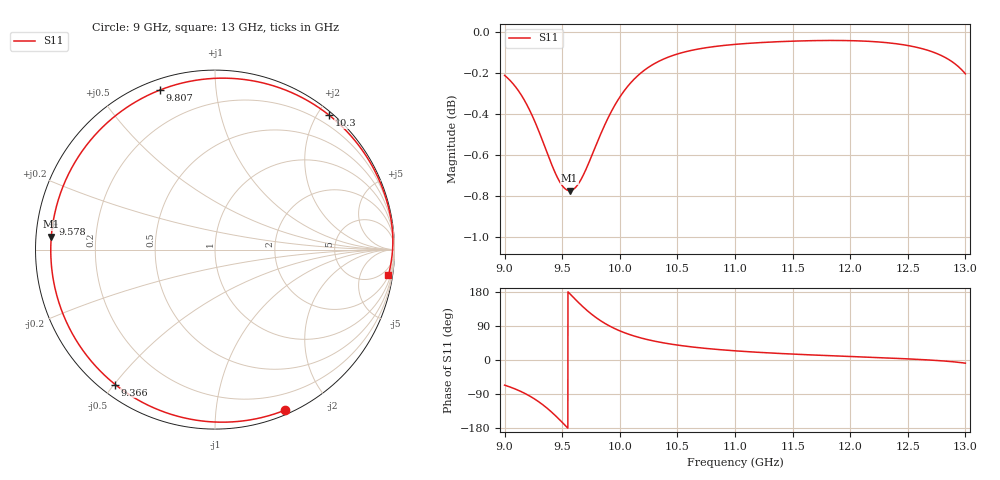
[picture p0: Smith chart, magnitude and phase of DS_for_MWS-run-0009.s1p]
! TOUCHSTONE file generated by CST DESIGN STUDIO
! Date and time: Tue Feb  4 15:57:27 2025
! Project name: C:\Work\MatlabApps\UnitCellOptimizationMatlab\CST\unitcell.cst
! Tree item: Tasks\Sweep1\SPara1\S-Parameters
! Header version: 2024
! Port assignment regex: !\s*Touchstone port\s*([0-9]+)\s*=\s*(CST MWS port|CST DES external port|CST DES block port)\s*(.+)\s* \(\"(.*)\"\)(\s*mode\s*([0-9]+))?.*
! Touchstone port assignment:
! Touchstone port 1 = CST DES external port 1 ("")
# GHz S MA R 50
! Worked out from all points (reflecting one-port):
!   4001 points, 9 GHz to 13 GHz, reference 50 ohm
!   lowest |S11| = -0.8 dB at 9.564 GHz (marker M1), VSWR 22.50, Z = 2.23 + j1.98 ohm
!   phase of S11 starts at -66 deg and turns -302 deg over the sweep
!   S11 on the Smith chart (normalised r, x): 9 GHz: 0.04, -1.53; 9.366 GHz: 0.04, -0.50; 9.578 GHz: 0.04, +0.08; 9.807 GHz: 0.05, +0.71; 10.3 GHz: 0.05, +2.16; 13 GHz: 2, -13
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9  0.9759 -66.3
9.042  0.9735 -70.7
9.107  0.9687 -78.4
9.219  0.9568 -95.3
9.296  0.946 -110.2
9.366  0.935 -126.4
9.43  0.9253 -143.6
9.5  0.9175 -164.5
9.532  0.9156 -174.5
9.564  0.9149 175.5
9.578  0.915 171.1
9.633  0.9178 154.1
9.696  0.9245 136.0
9.75  0.932 122.1
9.807  0.9404 109.1
9.893  0.9523 92.7
10  0.9641 76.9
10.068  0.9699 68.9
10.14  0.9748 61.9
10.304  0.9824 49.6
10.5  0.9876 39.4
10.72  0.9908 31.4
11  0.993 24.2
11.5  0.9948 15.6
12  0.995 9.2
12.5  0.9923 3.0
12.791  0.9868 -2.1
13  0.9767 -8.4
